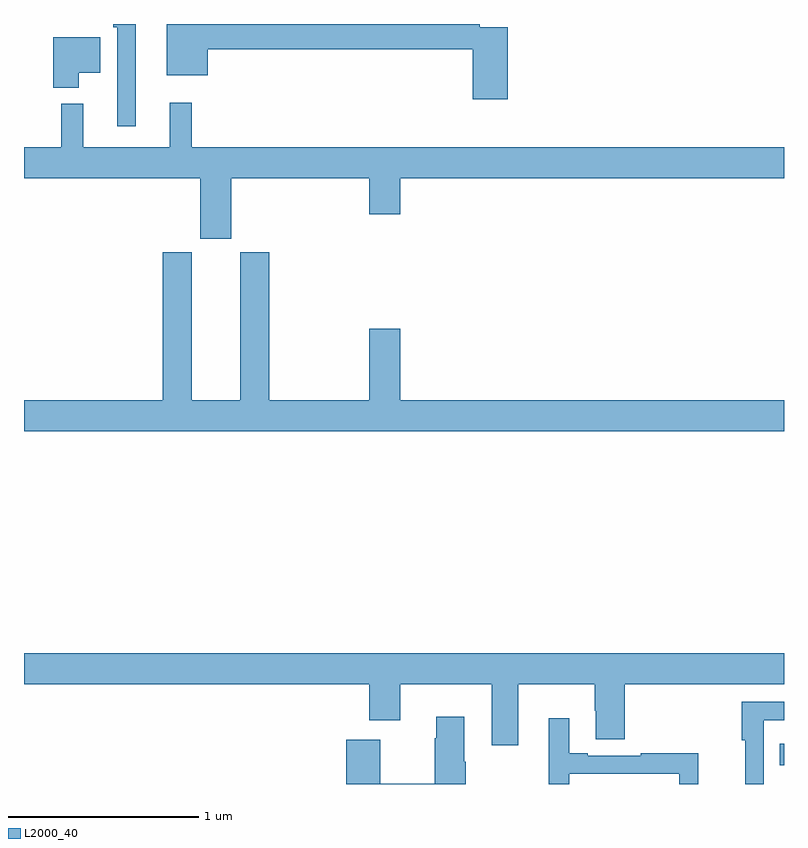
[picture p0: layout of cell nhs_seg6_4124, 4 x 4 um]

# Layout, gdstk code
import gdstk
lib = gdstk.Library(unit=1e-6, precision=1e-09)
def R(c, l, rs):  # rectangles x0, y0, x1, y1
    for r in rs: c.add(gdstk.rectangle(r[:2], r[2:], *l))
def P(c, l, *ps):  # polygons
    for p in ps: c.add(gdstk.Polygon(p, *l))
L2000_40 = (2000, 40)

nhs_seg6_4124 = lib.new_cell('nhs_seg6_4124')
R(nhs_seg6_4124, L2000_40, [(358.978,925.598,359,925.711)])
P(nhs_seg6_4124, L2000_40, [(357.545,929.484),(357.398,929.484),(357.398,929.5),(355.751,929.5),(355.751,929.231),(355.966,929.231),(355.966,929.368),(357.362,929.368),(357.362,929.103),(357.545,929.103)],
  [(355.588,929.5),(355.471,929.5),(355.471,929.483),(355.491,929.483),(355.491,928.962),(355.588,928.962)],
  [(355.288,929.243),(355.402,929.243),(355.402,929.431),(355.154,929.431),(355.154,929.165),(355.288,929.165)],
  [(356.092,928.688),(356.816,928.688),(356.816,928.5),(356.98,928.5),(356.98,928.688),(359,928.688),(359,928.852),(355.883,928.852),(355.883,929.086),(355.766,929.086),(355.766,928.852),(355.313,928.852),(355.313,929.08),(355.195,929.08),(355.195,928.852),(355,928.852),(355,928.688),(355.928,928.688),(355.928,928.371),(356.092,928.371)],
  [(359,927.52),(356.98,927.52),(356.98,927.895),(356.816,927.895),(356.816,927.52),(356.291,927.52),(356.291,928.299),(356.138,928.299),(356.138,927.52),(355.882,927.52),(355.882,928.299),(355.73,928.299),(355.73,927.52),(355,927.52),(355,927.356),(359,927.356)],
  [(355,926.024),(356.816,926.024),(356.816,925.836),(356.98,925.836),(356.98,926.024),(357.461,926.024),(357.461,925.704),(357.601,925.704),(357.601,926.024),(358.003,926.024),(358.003,925.886),(358.01,925.886),(358.01,925.735),(358.163,925.735),(358.163,926.024),(359,926.024),(359,926.188),(355,926.188)],
  [(358.894,925.508),(358.893,925.508),(358.893,925.836),(359,925.836),(359,925.932),(358.777,925.932),(358.777,925.729),(358.795,925.729),(358.795,925.5),(358.894,925.5)],
  [(357.324,925.616),(357.316,925.616),(357.316,925.855),(357.17,925.855),(357.17,925.742),(357.163,925.742),(357.163,925.501),(356.874,925.501),(356.874,925.732),(356.696,925.732),(356.696,925.5),(357.324,925.5)],
  [(357.87,925.554),(358.449,925.554),(358.449,925.5),(358.548,925.5),(358.548,925.663),(358.246,925.663),(358.246,925.65),(357.967,925.65),(357.967,925.663),(357.871,925.663),(357.871,925.846),(357.761,925.846),(357.761,925.601),(357.762,925.601),(357.762,925.5),(357.87,925.5)])

lib.write_gds('nhs_seg6_4124.gds')
